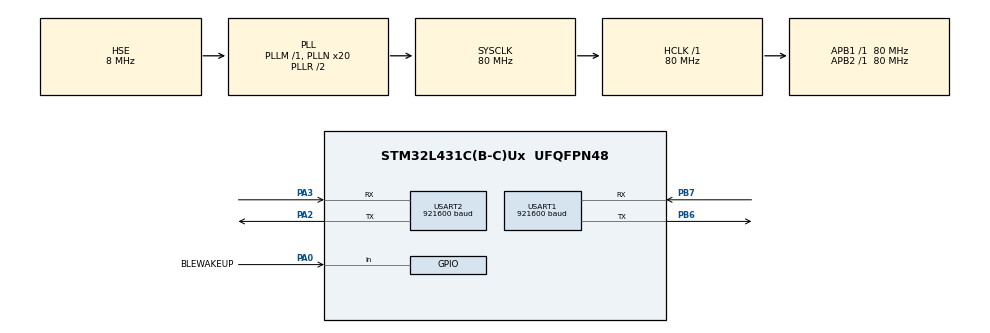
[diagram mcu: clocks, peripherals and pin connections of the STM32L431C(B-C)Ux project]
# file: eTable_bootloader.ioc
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Mcu.Family=STM32L4
Mcu.Name=STM32L431C(B-C)Ux
Mcu.Package=UFQFPN48
NVIC.PriorityGroup=NVIC_PRIORITYGROUP_4
NVIC.TIM6_DAC_IRQn=true\:0\:0\:false\:false\:true\:true\:true
NVIC.TIM7_IRQn=true\:0\:0\:false\:false\:true\:true\:true
NVIC.USART1_IRQn=true\:0\:0\:false\:false\:true\:true\:true
NVIC.USART2_IRQn=true\:0\:0\:false\:false\:true\:true\:true
PA0.GPIO_Label=BLEWAKEUP
PA0.GPIO_PuPd=GPIO_PULLUP
PA0.Signal=GPIO_Input
PA13\ (JTMS-SWDIO).Mode=Serial_Wire
PA13\ (JTMS-SWDIO).Signal=SYS_JTMS-SWDIO
PA14\ (JTCK-SWCLK).Mode=Serial_Wire
PA14\ (JTCK-SWCLK).Signal=SYS_JTCK-SWCLK
PA2.GPIO_PuPd=GPIO_PULLUP
PA2.Mode=Asynchronous
PA2.Signal=USART2_TX
PA3.GPIO_PuPd=GPIO_PULLUP
PA3.Mode=Asynchronous
PA3.Signal=USART2_RX
PB6.GPIO_PuPd=GPIO_PULLUP
PB6.Mode=Asynchronous
PB6.Signal=USART1_TX
PB7.GPIO_PuPd=GPIO_PULLUP
PB7.Mode=Asynchronous
PB7.Signal=USART1_RX
PC14-OSC32_IN\ (PC14).Mode=LSE-External-Oscillator
PC14-OSC32_IN\ (PC14).Signal=RCC_OSC32_IN
PC15-OSC32_OUT\ (PC15).Mode=LSE-External-Oscillator
PC15-OSC32_OUT\ (PC15).Signal=RCC_OSC32_OUT
PH0-OSC_IN\ (PH0).Mode=HSE-External-Oscillator
PH0-OSC_IN\ (PH0).Signal=RCC_OSC_IN
PH1-OSC_OUT\ (PH1).Mode=HSE-External-Oscillator
PH1-OSC_OUT\ (PH1).Signal=RCC_OSC_OUT
ProjectManager.HeapSize=0x600
ProjectManager.StackSize=0x400
ProjectManager.TargetToolchain=EWARM V8.32
RCC.ADCFreq_Value=32000000
RCC.AHBFreq_Value=80000000
RCC.APB1Freq_Value=80000000
RCC.APB1TimFreq_Value=80000000
RCC.APB2Freq_Value=80000000
RCC.APB2TimFreq_Value=80000000
RCC.CortexFreq_Value=80000000
RCC.HCLKFreq_Value=80000000
RCC.HSE_VALUE=8000000
RCC.HSI48_VALUE=48000000
RCC.HSI_VALUE=16000000
RCC.MSI_VALUE=4000000
RCC.PLLN=20
RCC.PLLSourceVirtual=RCC_PLLSOURCE_HSE
RCC.RTCClockSelection=RCC_RTCCLKSOURCE_LSE
RCC.SYSCLKFreq_VALUE=80000000
RCC.SYSCLKSource=RCC_SYSCLKSOURCE_PLLCLK
RCC.VCOOutputFreq_Value=160000000
TIM6.AutoReloadPreload=TIM_AUTORELOAD_PRELOAD_ENABLE
TIM6.Period=1000
TIM6.Prescaler=79
TIM6.TIM_MasterOutputTrigger=TIM_TRGO_RESET
TIM7.Period=1000
TIM7.Prescaler=79
USART1.BaudRate=921600
USART1.VirtualMode-Asynchronous=VM_ASYNC
USART2.BaudRate=921600
USART2.VirtualMode-Asynchronous=VM_ASYNC
VP_RTC_VS_RTC_Activate.Mode=RTC_Enabled
VP_TIM6_VS_ClockSourceINT.Mode=Enable_Timer
VP_TIM7_VS_ClockSourceINT.Mode=Enable_Timer
board=custom

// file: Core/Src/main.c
/* USER CODE BEGIN Header */
/**
  ******************************************************************************
  * @file           : main.c
  * @brief          : Main program body
  ******************************************************************************
  * @attention
  *
  * <h2><center>&copy; Copyright (c) 2021 STMicroelectronics.
  * All rights reserved.</center></h2>
  *
  * This software component is licensed by ST under BSD 3-Clause license,
  * the "License"; You may not use this file except in compliance with the
  * License. You may obtain a copy of the License at:
  *                        opensource.org/licenses/BSD-3-Clause
  *
  ******************************************************************************
  */
/* USER CODE END Header */
#include "main.h"
#include "rtc.h"
#include "tim.h"
#include "usart.h"
#include "gpio.h"

/* USER CODE BEGIN Includes */
#include "stdio.h"
#include "string.h"
#include "internalflash.h"
#include "mbcrc.h"
/* USER CODE END Includes */

/* USER CODE BEGIN PM */
uint8_t uart1Revflag = 0;
uint8_t uart2Revflag = 0;
uint8_t uart1Data[1074];
uint8_t uart2Data[1074];
uint16_t uart1len = 0;
uint16_t uart2len = 0;
uint8_t uart1RxDatatmp;
uint8_t uart2RxDatatmp;

/* 跳转计时定义 */
uint16_t jumptim = 0;

/* 保持boot状态标志位 */
uint8_t timflag = 0;

/* 单字节超时计数 */
uint16_t Time6Flag = 0;
uint16_t Time7Flag = 0;

/* 单包数据需要接收的长度 */
uint16_t uart1packlen = 0;
uint16_t uart2packlen = 0;

funtioncode_f Funtioncode;

const uint8_t appfinishflag[8] = {0x0A,0x0A,0x0A,0x0A,0x0A,0x0A,0x0A,0x0A};
uint8_t readfinishflag[8];

uint64_t JumpTimMAX = 0;

uint8_t StartDevFlag[7] = {0xEE,0x0F,0x00,0x03,0x01,0x33,0x0E};

DEVINFO DevInfoData = {
    /* 设备头 */
    0x0C0C0C0C0C0C0C0C,
    /* 设备ID */
    0x0000000000000000,
    /* 读取的蓝牙设备MAC */
    0x0000000000000000,
    /* 读取的LORA设备ID */
    0x0000000000000000,

};

/* USER CODE END PM */

void SystemClock_Config(void);

/* USER CODE BEGIN 0 */
/* 单字节接收超时计时 */
void HAL_TIM_PeriodElapsedCallback(TIM_HandleTypeDef *htim)
{
  /* 单字节超时计时器 */
  if(htim->Instance == htim6.Instance)
  {
    ++Time6Flag;
  }
  else if(htim->Instance == htim7.Instance)
  {
    ++Time7Flag;
  }
}

void HAL_UART_RxCpltCallback(UART_HandleTypeDef *huart)
{
  /* 主串口回调函数 */
  if(huart->Instance == USART1)
  {
    uart1Data[uart1len++] = uart1RxDatatmp;
    Time6Flag = 0;
    if(uart1len < 2)
      HAL_TIM_Base_Start_IT(&htim6);
    if((uart1Revflag == 0) && (uart1len > 3))
    {
      /* 表示正在接收单包数据 */
      uart1Revflag = 1;
      /* 获取接下来的数据长度 */
      uart1packlen = (uint16_t)(uart1Data[2]<<8) | uart1Data[3];
    }
    else if(uart1Data[0] != 0xFF)
    {
      uart1len = 0;
    }
    if(uart1Revflag == 1)
    {
      if(uart1packlen == uart1len-4)
      {
        /* 表述数据接收完毕 */
        uart1Revflag = 6;
        /* 可以关闭超时计时中断 */
        Time6Flag = 0;
        HAL_TIM_Base_Stop(&htim7);
      }
    }
    HAL_UART_Receive_IT(&huart1,&uart1RxDatatmp, 1);
  }else if(huart->Instance == USART2)
  {
    uart2Data[uart2len++] = uart2RxDatatmp;
    Time7Flag = 0;
    if(uart2len < 2)
      HAL_TIM_Base_Start_IT(&htim7);
    if((uart2Revflag == 0) && (uart2len > 3))
    {
      /* 表示正在接收单包数据 */
      uart2Revflag = 1;
      /* 获取接下来的数据长度 */
      uart2packlen = (uint16_t)(uart2Data[2]<<8) | uart2Data[3];
    }
    else if(uart2Data[0] != 0xFF)
    {
      uart2len = 0;
    }
    if(uart2Revflag == 1)
    {
      if(uart2packlen == uart2len-4)
      {
        /* 表述数据接收完毕 */
        uart2Revflag = 6;
        /* 可以关闭超时计时中断 */
        Time7Flag = 0;
        HAL_TIM_Base_Stop(&htim7);
      }
    }
    HAL_UART_Receive_IT(&huart2,&uart2RxDatatmp, 1);

  }
}

/* 进行数据解析判断接收到的单帧数据属于的类型指令 */
uint8_t Data_Analy(uint8_t *dat, uint16_t dlen)
{
  uint8_t ackdata[30];
  uint32_t inputaddr = 0;
  uint32_t inputdatalen = 0;
  uint16_t crcdata = 0;
  /*首先校验CRC判断是否数据正确*/
  crcdata = usMBCRC16( dat, dlen-2 );
  /* 打印计算得出的CRC数据 */
//  printf("CRC : %016x\n",crcdata);
  if(crcdata != ((uint16_t)(dat[dlen-2]<<8)|(dat[dlen-1])))
  {
    inputaddr = (uint16_t)((dat[4]<<8)|dat[5])*8;
    ackdata[0] = 0xEE;
    ackdata[1] = UART1DOWN;
    ackdata[2] = 0x00;
    ackdata[3] = 0x05;
    inputaddr = inputaddr*8;
    ackdata[4] = (uint8_t)(inputaddr>>8);
    ackdata[5] = (uint8_t)inputaddr;
    ackdata[6] = 0x01;
    crcdata = usMBCRC16( ackdata, 7 );
    ackdata[7] = (uint8_t)(crcdata>>8);
    ackdata[8] = (uint8_t)crcdata;
    /*发送应答数据*/
    HAL_UART_Transmit(&huart1 , (uint8_t *)ackdata, 9, 0xFFFF);
    HAL_UART_Transmit(&huart2 , (uint8_t *)ackdata, 9, 0xFFFF);

    printf("CRC check FAIL !!!\n");
    return 1;
  }
  /*其次判断功能码*/
  Funtioncode = (funtioncode_f)dat[1];
  /* 等待获取数据使设备进入相关模式*/
  switch(Funtioncode)
  {
   /* 主串口下载程序到flash */
   case UART1DOWN:
      /*获取实际有效字节长度*/
      inputdatalen = (uint32_t)((dat[2]<<8)|dat[3]);
      if((inputdatalen-4)%8 != 0)
      {
        printf("inputdatalen error \r\n");
        return 1;
      }
      /*获取地址*/
      inputaddr = (uint16_t)((dat[4]<<8)|dat[5])*8;
      if(inputaddr%8 != 0)
      {
        printf("inputaddr error \r\n");
        return 1;
      }
//      /*擦除对应flash*/
//      Erase_ST_Flash(inputaddr,1);
      ackdata[0] = 0xEE;
      ackdata[1] = UART1DOWN;
      ackdata[2] = 0x00;
      ackdata[3] = 0x05;
      inputaddr = inputaddr*8;
      ackdata[4] = (uint8_t)(inputaddr>>8);
      ackdata[5] = (uint8_t)inputaddr;
      /*判断正确可以进行flash写入*/
      if(Write_Data_Flash(inputaddr, &dat[6], inputdatalen-4) == 0)
      {
        ackdata[6] = 0x00;
        printf("Flash write success addr %d",inputaddr);
      }
      else
      {
        ackdata[6] = 0x01;
        printf("Flash write fail addr %d",inputaddr);
      }
      crcdata = usMBCRC16( ackdata, 7 );
      ackdata[7] = (uint8_t)(crcdata>>8);
      ackdata[8] = (uint8_t)crcdata;
      /*发送应答数据*/
      HAL_UART_Transmit(&huart1 , (uint8_t *)ackdata, 9, 0xFFFF);

//      Read_Data_Flash(0, ttem, 40);
      break;
   /* 蓝牙串口下载程序到flash */
   case UART2DOWN:
      /*获取实际有效字节长度*/
      inputdatalen = (uint32_t)((dat[2]<<8)|dat[3]);
      if((inputdatalen-4)%8 != 0)
      {
        printf("inputdatalen error \r\n");
        return 1;
      }
      /*获取地址*/
      inputaddr = (uint16_t)((dat[4]<<8)|dat[5]);
      if(inputaddr%8 != 0)
      {
        printf("inputaddr error \r\n");
        return 1;
      }
//      /*擦除对应flash*/
//      Erase_ST_Flash(inputaddr,1);
      ackdata[0] = 0xEE;
      ackdata[1] = UART2DOWN;
      ackdata[2] = 0x00;
      ackdata[3] = 0x05;
      inputaddr = inputaddr*8;
      ackdata[4] = (uint8_t)(inputaddr>>8);
      ackdata[5] = (uint8_t)inputaddr;
      /*判断正确可以进行flash写入*/
      if(Write_Data_Flash(inputaddr, &dat[6], inputdatalen-4) == 0)
      {
        ackdata[6] = 0x00;
        printf("Flash write success addr %d",inputaddr);
      }
      else
      {
        ackdata[6] = 0x01;
        printf("Flash write fail addr %d",inputaddr);
      }
      crcdata = usMBCRC16( ackdata, 7 );
      ackdata[7] = (uint8_t)(crcdata>>8);
      ackdata[8] = (uint8_t)crcdata;
      HAL_Delay(5);
      /* 发送应答数据 */
      HAL_UART_Transmit(&huart2 , (uint8_t *)ackdata, 9, 0xFFFF);
      HAL_UART_Transmit(&huart1 , (uint8_t *)ackdata, 9, 0xFFFF);
//      Read_Data_Flash(0, ttem, 40);
      break;
  case ERASFLASH:
//      if((inputdatalen-4)%8 != 0) return 1;
      /*获取地址*/
      inputaddr = (uint16_t)((dat[4]<<8)|dat[5]);
      /*获取擦除数据的页*/
      inputdatalen = (uint32_t)(dat[6]<<16) | (dat[7]<<8) | dat[8];
      inputdatalen = inputdatalen/1024;
      if(inputdatalen >= 128) inputdatalen = 64;
      /*打印要擦除的页数*/
      printf("Erasure FLASH page %d \r\n",inputdatalen);
//      if(inputaddr%8 != 0) return 1;
      ackdata[0] = 0xEE;
      ackdata[1] = ERASFLASH;
      ackdata[2] = 0x00;
      ackdata[3] = 0x05;
      ackdata[4] = (uint8_t)(inputaddr>>8);
      ackdata[5] = (uint8_t)inputaddr;
      /*擦除对应位置上的数据*/
      if(Erase_ST_Flash(inputaddr,inputdatalen) == 0)
      {
        /* 主程序已经删除标志 */
        Erase_ST_Flash(DEVAPPSTAADD,1);
        ackdata[6] = 0x00;
      }
      else
      {
        ackdata[6] = 0x01;
      }
      crcdata = usMBCRC16( ackdata, 7 );
      ackdata[7] = (uint8_t)(crcdata>>8);
      ackdata[8] = (uint8_t)crcdata;
      /*发送应答数据*/
      HAL_UART_Transmit(&huart2 , (uint8_t *)ackdata, 9, 0xFFFF);

      break;
  case RESETDEV:
      Write_Data_Flash(FLASH_ADDR_APPLICATION - 4096,(uint8_t *)appfinishflag,1);

      ackdata[0] = 0xEE;
      ackdata[1] = RESETDEV;
      ackdata[2] = 0x00;
      ackdata[3] = 0x05;
      ackdata[4] = 0x00;
      ackdata[5] = 0x00;
      ackdata[6] = 0x00;
      crcdata = usMBCRC16( ackdata, 7 );
      ackdata[7] = (uint8_t)(crcdata>>8);
      ackdata[8] = (uint8_t)crcdata;
      /*发鿁应答数捿*/
      HAL_UART_Transmit(&huart2 , (uint8_t *)ackdata, 9, 0xFFFF);
      HAL_UART_Transmit(&huart1 , (uint8_t *)ackdata, 9, 0xFFFF);

      printf("Device Reset!!!\n");
      __set_FAULTMASK(1);
      NVIC_SystemReset();
      break;
    default:
      printf("Device Data error\n");
      break;
  }

  return 0;
}

/* USER CODE END 0 */

int main(void)
{

  /* MCU Configuration--------------------------------------------------------*/

  /* Reset of all peripherals, Initializes the Flash interface and the Systick. */
  HAL_Init();

  /* Configure the system clock */
  SystemClock_Config();

  /* Initialize all configured peripherals */
  MX_GPIO_Init();
  MX_RTC_Init();
  MX_USART1_UART_Init();
  MX_USART2_UART_Init();
  MX_TIM6_Init();
  MX_TIM7_Init();
  /* USER CODE BEGIN 2 */
  HAL_UART_Receive_IT(&huart1, &uart1RxDatatmp, 1);
  HAL_UART_Receive_IT(&huart2, &uart2RxDatatmp, 1);

  /* 判断是否是第一次启动并且读取设备信息 */
  memcpy(readfinishflag,(uint8_t *)DEVAPPSTAADD,8);
  /* 读取本次需要延时的时间 */
  memcpy(&JumpTimMAX,(uint8_t *)JUMPTIMADD,8);
  if(JumpTimMAX > 1000) JumpTimMAX = 3;

  /*调试与提示打印*/
  printf("bootloader start ...\n");
  printf("Jump Application Time %d\n",(uint32_t)JumpTimMAX);
  printf("\n");
  printf("\n");
  printf("\n");

  HAL_UART_Transmit(&huart2 , (uint8_t *)StartDevFlag, 7, 0xFFFF);
  HAL_UART_Transmit(&huart1 , (uint8_t *)StartDevFlag, 7, 0xFFFF);
  /* USER CODE END 2 */

  /* Infinite loop */
  /* USER CODE BEGIN WHILE */
  while (1)
  {
    /* 获得接收串口标志，判断是否已经接收完成一帧数�? */
    if((uart1Revflag == 1) && (Time6Flag > 100))
    {
        /* 表述数据接收完毕 */
        uart1Revflag = 6;
        /* 可以关闭超时计时中断 */
        Time6Flag = 0;
        HAL_TIM_Base_Stop(&htim6);
    }
    else if((uart2Revflag == 1) && (Time7Flag > 200))
    {
        /* 表述数据接收完毕 */
        uart2Revflag = 6;
        /* 可以关闭超时计时中断 */
        Time7Flag = 0;
        HAL_TIM_Base_Stop(&htim7);

    }
    if(uart1Revflag == 6)
    {
      timflag = 1;
      /* 获得接收数据完成后进入相关数据解�? */
      uart1Revflag = 0;
      /* 解析主串口接收数�? */
      Data_Analy(uart1Data, uart1len);
      /* 解析完成清空接收 */
      memset(uart1Data,0,1074);
      uart1len = 0;
    }
    else if(uart2Revflag == 6)
    {
      timflag = 1;
      /* 获得接收数据完成后进入相关数据解�? */
      uart2Revflag = 0;
      /* 解析主串口接收数�? */
      Data_Analy(uart2Data, uart2len);
      /* 解析完成清空接收 */
      memset(uart2Data,0,1074);
      uart2len = 0;
    }
    /* USER CODE END WHILE */

    /* USER CODE BEGIN 3 */
    HAL_Delay(100);
    /* 计时并判断是否需要跳�? */
    if(timflag == 0)
    /* 如果开始蓝牙连接状态就跳入升级固件，不然就倒计时5秒跳转 */
//    if(BLEWakeUp == 1)
    {
      jumptim++;
      if(jumptim%10 == 0)
        printf("Time %d\n",jumptim/10);
    }
    /* 计时之后跳转 */
    if((jumptim > JumpTimMAX*10) && (BLEWakeUp == 1))
    {
      jumptim = 0;
      /* 判断是否有主程序 */
      memcpy(readfinishflag,(uint8_t *)DEVAPPSTAADD,8);
//      if(strstr(appfinishflag,readfinishflag) != NULL)
      {
        /* 进行跳转 */
        printf("jump to application...\n");
        jump_application();
      }
    }

  }
  /* USER CODE END 3 */
}

void SystemClock_Config(void)
{
  RCC_OscInitTypeDef RCC_OscInitStruct = {0};
  RCC_ClkInitTypeDef RCC_ClkInitStruct = {0};
  RCC_PeriphCLKInitTypeDef PeriphClkInit = {0};

  /** Configure LSE Drive Capability
  */
  HAL_PWR_EnableBkUpAccess();
  __HAL_RCC_LSEDRIVE_CONFIG(RCC_LSEDRIVE_LOW);
  /** Initializes the RCC Oscillators according to the specified parameters
  * in the RCC_OscInitTypeDef structure.
  */
  RCC_OscInitStruct.OscillatorType = RCC_OSCILLATORTYPE_HSE|RCC_OSCILLATORTYPE_LSE;
  RCC_OscInitStruct.HSEState = RCC_HSE_ON;
  RCC_OscInitStruct.LSEState = RCC_LSE_ON;
  RCC_OscInitStruct.PLL.PLLState = RCC_PLL_ON;
  RCC_OscInitStruct.PLL.PLLSource = RCC_PLLSOURCE_HSE;
  RCC_OscInitStruct.PLL.PLLM = 1;
  RCC_OscInitStruct.PLL.PLLN = 20;
  RCC_OscInitStruct.PLL.PLLP = RCC_PLLP_DIV7;
  RCC_OscInitStruct.PLL.PLLQ = RCC_PLLQ_DIV2;
  RCC_OscInitStruct.PLL.PLLR = RCC_PLLR_DIV2;
  if (HAL_RCC_OscConfig(&RCC_OscInitStruct) != HAL_OK)
  {
    Error_Handler();
  }
  /** Initializes the CPU, AHB and APB buses clocks
  */
  RCC_ClkInitStruct.ClockType = RCC_CLOCKTYPE_HCLK|RCC_CLOCKTYPE_SYSCLK
                              |RCC_CLOCKTYPE_PCLK1|RCC_CLOCKTYPE_PCLK2;
  RCC_ClkInitStruct.SYSCLKSource = RCC_SYSCLKSOURCE_PLLCLK;
  RCC_ClkInitStruct.AHBCLKDivider = RCC_SYSCLK_DIV1;
  RCC_ClkInitStruct.APB1CLKDivider = RCC_HCLK_DIV1;
  RCC_ClkInitStruct.APB2CLKDivider = RCC_HCLK_DIV1;

  if (HAL_RCC_ClockConfig(&RCC_ClkInitStruct, FLASH_LATENCY_4) != HAL_OK)
  {
    Error_Handler();
  }
  PeriphClkInit.PeriphClockSelection = RCC_PERIPHCLK_RTC|RCC_PERIPHCLK_USART1
                              |RCC_PERIPHCLK_USART2;
  PeriphClkInit.Usart1ClockSelection = RCC_USART1CLKSOURCE_PCLK2;
  PeriphClkInit.Usart2ClockSelection = RCC_USART2CLKSOURCE_PCLK1;
  PeriphClkInit.RTCClockSelection = RCC_RTCCLKSOURCE_LSE;
  if (HAL_RCCEx_PeriphCLKConfig(&PeriphClkInit) != HAL_OK)
  {
    Error_Handler();
  }
  /** Configure the main internal regulator output voltage
  */
  if (HAL_PWREx_ControlVoltageScaling(PWR_REGULATOR_VOLTAGE_SCALE1) != HAL_OK)
  {
    Error_Handler();
  }
}

void Error_Handler(void)
{
}

/************************ (C) COPYRIGHT STMicroelectronics *****END OF FILE****/
